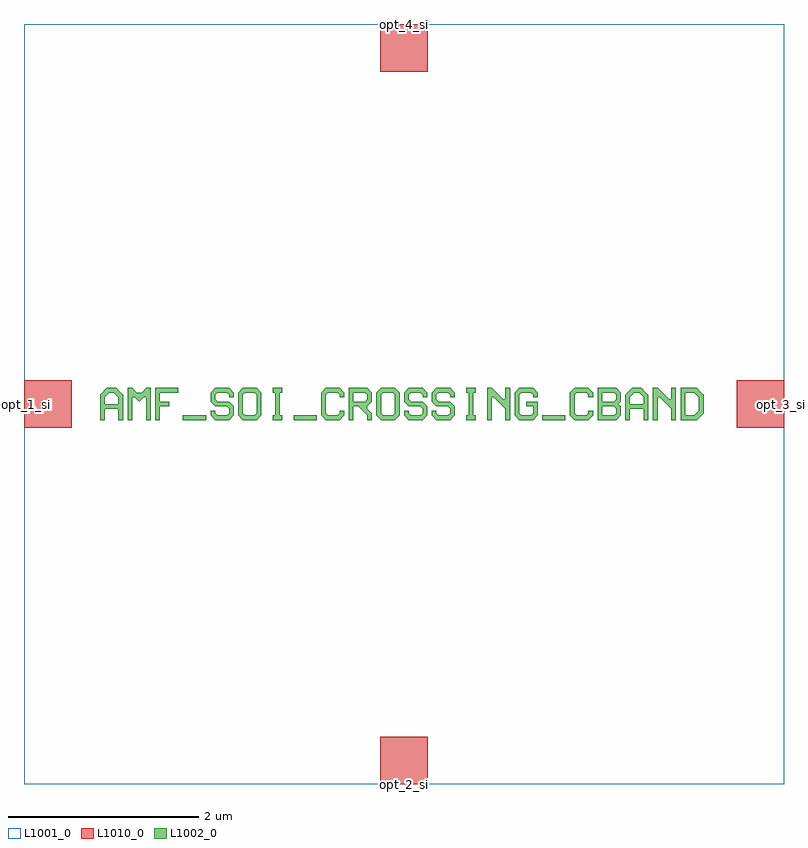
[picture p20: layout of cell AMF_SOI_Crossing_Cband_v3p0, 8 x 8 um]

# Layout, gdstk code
import gdstk
lib = gdstk.Library(unit=1e-6, precision=1e-09)
def R(c, l, rs):  # rectangles x0, y0, x1, y1
    for r in rs: c.add(gdstk.rectangle(r[:2], r[2:], *l))
def P(c, l, *ps):  # polygons
    for p in ps: c.add(gdstk.Polygon(p, *l))
L1001_0 = (1001, 0)
L1002_0 = (1002, 0)
L1010_0 = (1010, 0)

amf_soi_crossing_cband_v = lib.new_cell('AMF_SOI_Crossing_Cband_v3p0')
R(amf_soi_crossing_cband_v, L1001_0, [(0,-4,8,4)])
R(amf_soi_crossing_cband_v, L1002_0, [(1.673,-0.17,1.916,-0.121), (2.837,-0.17,3.08,-0.121), (5.456,-0.17,5.699,-0.121)])
P(amf_soi_crossing_cband_v, L1002_0, [(0.8,-0.17),(0.8,0.097),(0.873,0.17),(0.97,0.17),(1.018,0.121),(0.897,0.121),(0.849,0.073),(0.849,0),(0.994,0),(0.994,0.073),(0.946,0.121),(1.018,0.121),(1.043,0.097),(1.043,-0.17),(0.994,-0.17),(0.994,-0.049),(0.849,-0.049),(0.849,-0.17)],
  [(1.091,-0.17),(1.091,0.17),(1.14,0.17),(1.188,0.121),(1.237,0.121),(1.285,0.17),(1.334,0.17),(1.334,-0.17),(1.285,-0.17),(1.285,0.073),(1.261,0.073),(1.212,0.024),(1.164,0.073),(1.14,0.073),(1.14,-0.17)],
  [(1.382,-0.17),(1.382,0.17),(1.625,0.17),(1.625,0.121),(1.431,0.121),(1.431,0.024),(1.528,0.024),(1.528,-0.024),(1.431,-0.024),(1.431,-0.17)],
  [(2.013,-0.17),(1.964,-0.121),(1.964,-0.073),(2.013,-0.073),(2.013,-0.097),(2.037,-0.121),(2.134,-0.121),(2.158,-0.097),(2.158,-0.049),(2.134,-0.024),(2.013,-0.024),(1.964,0.024),(1.964,0.121),(2.013,0.17),(2.158,0.17),(2.207,0.121),(2.207,0.073),(2.158,0.073),(2.158,0.097),(2.134,0.121),(2.037,0.121),(2.013,0.097),(2.013,0.048),(2.037,0.024),(2.158,0.024),(2.207,-0.024),(2.207,-0.121),(2.158,-0.17)],
  [(2.304,-0.17),(2.255,-0.121),(2.255,0.121),(2.304,0.17),(2.449,0.17),(2.498,0.121),(2.498,0),(2.449,0),(2.449,0.097),(2.425,0.121),(2.328,0.121),(2.304,0.097),(2.304,-0.097),(2.328,-0.121),(2.425,-0.121),(2.449,-0.097),(2.449,0),(2.498,0),(2.498,-0.121),(2.449,-0.17)],
  [(2.619,-0.17),(2.619,-0.121),(2.643,-0.121),(2.643,0.121),(2.619,0.121),(2.619,0.17),(2.716,0.17),(2.716,0.121),(2.692,0.121),(2.692,-0.121),(2.716,-0.121),(2.716,-0.17)],
  [(3.177,-0.17),(3.128,-0.121),(3.128,0.121),(3.177,0.17),(3.322,0.17),(3.371,0.121),(3.371,0.073),(3.322,0.073),(3.322,0.097),(3.298,0.121),(3.201,0.121),(3.177,0.097),(3.177,-0.097),(3.201,-0.121),(3.298,-0.121),(3.322,-0.097),(3.322,-0.073),(3.371,-0.073),(3.371,-0.121),(3.322,-0.17)],
  [(3.419,-0.17),(3.419,0.17),(3.613,0.17),(3.662,0.121),(3.468,0.121),(3.468,0.024),(3.589,0.024),(3.613,0.048),(3.613,0.097),(3.589,0.121),(3.662,0.121),(3.662,0.024),(3.613,-0.024),(3.613,-0.049),(3.662,-0.097),(3.662,-0.17),(3.613,-0.17),(3.613,-0.121),(3.516,-0.024),(3.468,-0.024),(3.468,-0.17)],
  [(3.759,-0.17),(3.71,-0.121),(3.71,0.121),(3.759,0.17),(3.904,0.17),(3.953,0.121),(3.953,0),(3.904,0),(3.904,0.097),(3.88,0.121),(3.783,0.121),(3.759,0.097),(3.759,-0.097),(3.783,-0.121),(3.88,-0.121),(3.904,-0.097),(3.904,0),(3.953,0),(3.953,-0.121),(3.904,-0.17)],
  [(4.05,-0.17),(4.001,-0.121),(4.001,-0.073),(4.05,-0.073),(4.05,-0.097),(4.074,-0.121),(4.171,-0.121),(4.195,-0.097),(4.195,-0.049),(4.171,-0.024),(4.05,-0.024),(4.001,0.024),(4.001,0.121),(4.05,0.17),(4.195,0.17),(4.244,0.121),(4.244,0.073),(4.195,0.073),(4.195,0.097),(4.171,0.121),(4.074,0.121),(4.05,0.097),(4.05,0.048),(4.074,0.024),(4.195,0.024),(4.244,-0.024),(4.244,-0.121),(4.195,-0.17)],
  [(4.341,-0.17),(4.292,-0.121),(4.292,-0.073),(4.341,-0.073),(4.341,-0.097),(4.365,-0.121),(4.462,-0.121),(4.486,-0.097),(4.486,-0.049),(4.462,-0.024),(4.341,-0.024),(4.292,0.024),(4.292,0.121),(4.341,0.17),(4.486,0.17),(4.535,0.121),(4.535,0.073),(4.486,0.073),(4.486,0.097),(4.462,0.121),(4.365,0.121),(4.341,0.097),(4.341,0.048),(4.365,0.024),(4.486,0.024),(4.535,-0.024),(4.535,-0.121),(4.486,-0.17)],
  [(4.656,-0.17),(4.656,-0.121),(4.68,-0.121),(4.68,0.121),(4.656,0.121),(4.656,0.17),(4.753,0.17),(4.753,0.121),(4.729,0.121),(4.729,-0.121),(4.753,-0.121),(4.753,-0.17)],
  [(4.874,-0.17),(4.874,0.17),(4.923,0.17),(5.044,0.048),(5.068,0.048),(5.068,0.17),(5.117,0.17),(5.117,-0.17),(5.068,-0.17),(5.068,-0.049),(4.947,0.073),(4.923,0.073),(4.923,-0.17)],
  [(5.214,-0.17),(5.165,-0.121),(5.165,0.121),(5.214,0.17),(5.359,0.17),(5.408,0.121),(5.408,0.073),(5.359,0.073),(5.359,0.097),(5.335,0.121),(5.238,0.121),(5.214,0.097),(5.214,-0.097),(5.238,-0.121),(5.335,-0.121),(5.359,-0.097),(5.359,-0.024),(5.286,-0.024),(5.286,0.024),(5.408,0.024),(5.408,-0.121),(5.359,-0.17)],
  [(5.796,-0.17),(5.747,-0.121),(5.747,0.121),(5.796,0.17),(5.941,0.17),(5.99,0.121),(5.99,0.073),(5.941,0.073),(5.941,0.097),(5.917,0.121),(5.82,0.121),(5.796,0.097),(5.796,-0.097),(5.82,-0.121),(5.917,-0.121),(5.941,-0.097),(5.941,-0.073),(5.99,-0.073),(5.99,-0.121),(5.941,-0.17)],
  [(6.038,-0.17),(6.038,0.17),(6.232,0.17),(6.281,0.121),(6.087,0.121),(6.087,0.024),(6.208,0.024),(6.232,0.048),(6.232,0.097),(6.208,0.121),(6.281,0.121),(6.281,0.024),(6.256,0),(6.281,-0.024),(6.087,-0.024),(6.087,-0.121),(6.208,-0.121),(6.232,-0.097),(6.232,-0.049),(6.208,-0.024),(6.281,-0.024),(6.281,-0.121),(6.232,-0.17)],
  [(6.329,-0.17),(6.329,0.097),(6.402,0.17),(6.499,0.17),(6.547,0.121),(6.426,0.121),(6.378,0.073),(6.378,0),(6.523,0),(6.523,0.073),(6.475,0.121),(6.547,0.121),(6.572,0.097),(6.572,-0.17),(6.523,-0.17),(6.523,-0.049),(6.378,-0.049),(6.378,-0.17)],
  [(6.62,-0.17),(6.62,0.17),(6.669,0.17),(6.79,0.048),(6.814,0.048),(6.814,0.17),(6.863,0.17),(6.863,-0.17),(6.814,-0.17),(6.814,-0.049),(6.693,0.073),(6.669,0.073),(6.669,-0.17)],
  [(6.911,-0.17),(6.911,0.17),(7.081,0.17),(7.129,0.121),(6.96,0.121),(6.96,-0.121),(7.057,-0.121),(7.105,-0.073),(7.105,0.073),(7.057,0.121),(7.129,0.121),(7.154,0.097),(7.154,-0.097),(7.081,-0.17)])
R(amf_soi_crossing_cband_v, L1010_0, [(3.75,-4,4.25,-3.5), (0,-0.25,0.5,0.25), (7.5,-0.25,8,0.25), (3.75,3.5,4.25,4)])
amf_soi_crossing_cband_v.add(gdstk.Label('opt_3_si', (8,0), layer=1010, texttype=0))
amf_soi_crossing_cband_v.add(gdstk.Label('opt_4_si', (4,4), layer=1010, texttype=0))
amf_soi_crossing_cband_v.add(gdstk.Label('opt_2_si', (4,-4), layer=1010, texttype=0))
amf_soi_crossing_cband_v.add(gdstk.Label('opt_1_si', (0,0), layer=1010, texttype=0))

lib.write_gds('AMF_SOI_Crossing_Cband_v3p0.gds')
